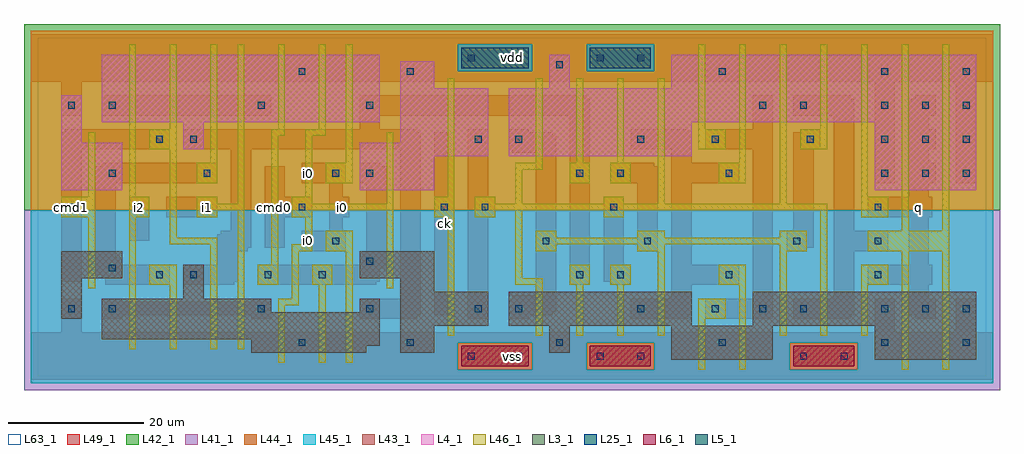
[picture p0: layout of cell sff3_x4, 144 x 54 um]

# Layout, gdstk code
import gdstk
lib = gdstk.Library(unit=1e-6, precision=1e-09)
def R(c, l, rs):  # rectangles x0, y0, x1, y1
    for r in rs: c.add(gdstk.rectangle(r[:2], r[2:], *l))
def A(c, l, x, y, w, h, nx, ny, dx, dy):  # array of equal rectangles
    R(c, l, [(x+i*dx, y+j*dy, x+i*dx+w, y+j*dy+h) for i in range(nx) for j in range(ny)])
L3_1 = (3, 1)
L4_1 = (4, 1)
L5_1 = (5, 1)
L6_1 = (6, 1)
L25_1 = (25, 1)
L41_1 = (41, 1)
L42_1 = (42, 1)
L43_1 = (43, 1)
L44_1 = (44, 1)
L45_1 = (45, 1)
L46_1 = (46, 1)
L49_1 = (49, 1)
L63_1 = (63, 1)

sff3_x4 = lib.new_cell('sff3_x4')
R(sff3_x4, L3_1, [(93.5,2.5,108.5,7.5), (123.5,2.5,138.5,7.5), (31.5,3.5,48.5,4.5), (53.5,3.5,58.5,7.5), (75.5,3.5,78.5,7.5), (31.5,4.5,50.5,5.5), (9.5,5.5,50.5,9.5), (53.5,7.5,66.5,12.5), (69.5,7.5,96.5,12.5), (105.5,7.5,138.5,12.5), (3.5,8.5,6.5,14.5), (9.5,9.5,34.5,11.5), (47.5,9.5,50.5,11.5), (21.5,11.5,24.5,16.5), (53.5,12.5,58.5,14.5), (3.5,14.5,12.5,18.5), (47.5,14.5,58.5,18.5)])
R(sff3_x4, L4_1, [(3.5,27.5,12.5,34.5), (47.5,27.5,58.5,32.5), (123.5,27.5,138.5,37.5), (47.5,32.5,66.5,34.5), (69.5,32.5,96.5,37.5), (21.5,33.5,24.5,37.5), (3.5,34.5,6.5,41.5), (53.5,34.5,66.5,42.5), (9.5,37.5,50.5,47.5), (69.5,37.5,138.5,42.5), (53.5,42.5,58.5,46.5), (75.5,42.5,78.5,47.5), (93.5,42.5,138.5,47.5)])
R(sff3_x4, L5_1, [(62.5,45.5,72.5,48.5), (81.5,45.5,90.5,48.5)])
R(sff3_x4, L6_1, [(62.5,1.5,72.5,4.5), (81.5,1.5,90.5,4.5), (111.5,1.5,120.5,4.5)])
A(sff3_x4, L25_1, 38.5, 4.5, 1, 1, 1, 3, 0, 20)
A(sff3_x4, L25_1, 76.5, 4.5, 1, 1, 3, 1, 24, 0)
A(sff3_x4, L25_1, 32.5, 9.5, 1, 1, 3, 1, 16, 0)
A(sff3_x4, L25_1, 124.5, 9.5, 1, 1, 3, 2, 6, 20)
A(sff3_x4, L25_1, 123.5, 14.5, 1, 1, 1, 3, 0, 5)
A(sff3_x4, L25_1, 4.5, 24.5, 1, 1, 3, 1, 10, 0)
A(sff3_x4, L25_1, 124.5, 34.5, 1, 1, 3, 2, 6, 5)
R(sff3_x4, L25_1, [(63.5,2.5,64.5,3.5), (70.5,2.5,71.5,3.5), (82.5,2.5,83.5,3.5), (88.5,2.5,89.5,3.5), (112.5,2.5,113.5,3.5), (118.5,2.5,119.5,3.5), (54.5,4.5,55.5,5.5), (136.5,4.5,137.5,5.5), (4.5,9.5,5.5,10.5), (10.5,9.5,11.5,10.5), (70.5,9.5,71.5,10.5), (88.5,9.5,89.5,10.5), (99.5,9.5,100.5,10.5), (106.5,9.5,107.5,10.5), (112.5,9.5,113.5,10.5), (17.5,14.5,18.5,15.5), (22.5,14.5,23.5,15.5), (33.5,14.5,34.5,15.5), (41.5,14.5,42.5,15.5), (79.5,14.5,80.5,15.5), (85.5,14.5,86.5,15.5), (101.5,14.5,102.5,15.5), (10.5,15.5,11.5,16.5), (48.5,16.5,49.5,17.5), (43.5,19.5,44.5,20.5), (74.5,19.5,75.5,20.5), (89.5,19.5,90.5,20.5), (111.5,19.5,112.5,20.5), (59.5,24.5,60.5,25.5), (65.5,24.5,66.5,25.5), (84.5,24.5,85.5,25.5), (10.5,29.5,11.5,30.5), (24.5,29.5,25.5,30.5), (43.5,29.5,44.5,30.5), (48.5,29.5,49.5,30.5), (79.5,29.5,80.5,30.5), (85.5,29.5,86.5,30.5), (101.5,29.5,102.5,30.5), (17.5,34.5,18.5,35.5), (22.5,34.5,23.5,35.5), (64.5,34.5,65.5,35.5), (70.5,34.5,71.5,35.5), (88.5,34.5,89.5,35.5), (99.5,34.5,100.5,35.5), (113.5,34.5,114.5,35.5), (4.5,39.5,5.5,40.5), (10.5,39.5,11.5,40.5), (32.5,39.5,33.5,40.5), (48.5,39.5,49.5,40.5), (106.5,39.5,107.5,40.5), (112.5,39.5,113.5,40.5), (54.5,44.5,55.5,45.5), (100.5,44.5,101.5,45.5), (124.5,44.5,125.5,45.5), (136.5,44.5,137.5,45.5), (76.5,45.5,77.5,46.5), (63.5,46.5,64.5,47.5), (70.5,46.5,71.5,47.5), (82.5,46.5,83.5,47.5), (88.5,46.5,89.5,47.5)])
R(sff3_x4, L41_1, [(-2,-2,142,24.5)])
R(sff3_x4, L42_1, [(-2,24.5,142,52)])
R(sff3_x4, L43_1, [(62.5,1.5,72.5,4.5), (81.5,1.5,90.5,4.5), (111.5,1.5,120.5,4.5), (93.5,2.5,108.5,7.5), (123.5,2.5,138.5,7.5), (31.5,3.5,48.5,4.5), (53.5,3.5,58.5,7.5), (75.5,3.5,78.5,7.5), (31.5,4.5,50.5,5.5), (9.5,5.5,50.5,9.5), (53.5,7.5,66.5,12.5), (69.5,7.5,96.5,12.5), (105.5,7.5,138.5,12.5), (3.5,8.5,6.5,14.5), (9.5,9.5,34.5,11.5), (47.5,9.5,50.5,11.5), (21.5,11.5,24.5,16.5), (53.5,12.5,58.5,14.5), (3.5,14.5,12.5,18.5), (47.5,14.5,58.5,18.5), (3.5,27.5,12.5,34.5), (47.5,27.5,58.5,32.5), (123.5,27.5,138.5,37.5), (47.5,32.5,66.5,34.5), (69.5,32.5,96.5,37.5), (21.5,33.5,24.5,37.5), (3.5,34.5,6.5,41.5), (53.5,34.5,66.5,42.5), (9.5,37.5,50.5,47.5), (69.5,37.5,138.5,42.5), (53.5,42.5,58.5,46.5), (75.5,42.5,78.5,47.5), (93.5,42.5,138.5,47.5), (62.5,45.5,72.5,48.5), (81.5,45.5,90.5,48.5)])
R(sff3_x4, L44_1, [(62,1,73,5), (81,1,91,5), (111,1,121,5), (-1,24.5,141,45), (-1,45,62,49), (73,45,81,49), (91,45,141,49), (-1,49,141,51)])
R(sff3_x4, L45_1, [(-1,-1,141,1), (-1,1,62,5), (73,1,81,5), (91,1,111,5), (121,1,141,5), (-1,5,141,24.5), (62,45,73,49), (81,45,91,49)])
A(sff3_x4, L46_1, 73.5, 6, 1, 7.5, 3, 1, 6, 0)
A(sff3_x4, L46_1, 73.5, 31.5, 1, 12.5, 3, 1, 6, 0)
R(sff3_x4, L46_1, [(97.5,1,98.5,8.5), (103.5,1,104.5,13.5), (127.5,1,128.5,18.5), (133.5,1,134.5,18.5), (35.5,2,36.5,10.5), (41.5,2,42.5,13.5), (45.5,2,46.5,18.5), (13.5,4,14.5,23.5), (19.5,4,20.5,13.5), (25.5,4,26.5,19.5), (29.5,4,30.5,24.5), (60.5,6,61.5,23.5), (91.5,6,92.5,18.5), (109.5,6,110.5,18.5), (115.5,6,116.5,24.5), (121.5,6,122.5,13.5), (97.5,8.5,101.5,11.5), (35.5,10.5,38.5,11.5), (37.5,11.5,38.5,18.5), (7.5,13,8.5,23.5), (51.5,13,52.5,24.5), (16.5,13.5,20.5,16.5), (32.5,13.5,35.5,16.5), (40.5,13.5,43.5,16.5), (70.5,13.5,74.5,14.5), (78.5,13.5,81.5,16.5), (84.5,13.5,87.5,16.5), (100.5,13.5,104.5,16.5), (121.5,13.5,125.5,16.5), (70.5,14.5,71.5,24.5), (34.5,16.5,35.5,35.5), (37.5,18.5,40.5,19.5), (42.5,18.5,46.5,21.5), (73.5,18.5,76.5,19.5), (88.5,18.5,92.5,19.5), (109.5,18.5,113.5,19.5), (122.5,18.5,134.5,21.5), (19.5,19.5,26.5,20.5), (39.5,19.5,40.5,23.5), (73.5,19.5,113.5,20.5), (19.5,20.5,20.5,33.5), (73.5,20.5,76.5,21.5), (88.5,20.5,92.5,21.5), (109.5,20.5,113.5,21.5), (127.5,21.5,128.5,49), (133.5,21.5,134.5,49), (3.5,23.5,8.5,26.5), (13.5,23.5,16.5,26.5), (23.5,23.5,26.5,24.5), (37.5,23.5,40.5,24.5), (58.5,23.5,61.5,26.5), (64.5,23.5,67.5,24.5), (83.5,23.5,86.5,24.5), (121.5,23.5,125.5,26.5), (23.5,24.5,30.5,25.5), (37.5,24.5,52.5,25.5), (64.5,24.5,116.5,25.5), (23.5,25.5,26.5,26.5), (29.5,25.5,30.5,49), (37.5,25.5,40.5,26.5), (51.5,25.5,52.5,36), (64.5,25.5,67.5,26.5), (70.5,25.5,71.5,30.5), (83.5,25.5,86.5,26.5), (91.5,25.5,92.5,44), (109.5,25.5,110.5,49), (7.5,26.5,8.5,36), (13.5,26.5,14.5,49), (39.5,26.5,40.5,35.5), (60.5,26.5,61.5,44), (121.5,26.5,122.5,49), (23.5,28.5,26.5,31.5), (42.5,28.5,46.5,31.5), (78.5,28.5,81.5,31.5), (84.5,28.5,87.5,31.5), (100.5,28.5,104.5,31.5), (70.5,30.5,74.5,31.5), (25.5,31.5,26.5,49), (45.5,31.5,46.5,49), (103.5,31.5,104.5,49), (16.5,33.5,20.5,36.5), (97.5,33.5,101.5,36.5), (112.5,33.5,116.5,36.5), (34.5,35.5,36.5,36.5), (39.5,35.5,42.5,36.5), (19.5,36.5,20.5,49), (35.5,36.5,36.5,49), (41.5,36.5,42.5,49), (97.5,36.5,98.5,49), (115.5,36.5,116.5,49)])
A(sff3_x4, L49_1, 128.5, 26.5, 3, 2, 1, 3, 0, 5)
R(sff3_x4, L49_1, [(-1,-0.5,141,6.5), (3.5,6.5,6.5,11.5), (123.5,6.5,126.5,11.5), (135.5,6.5,138.5,11.5), (9.5,8.5,12.5,9), (31.5,8.5,34.5,9), (47.5,8.5,56,9), (63.5,8.5,66.5,23.5), (69.5,8.5,72.5,9), (87.5,8.5,96,9), (98.5,8.5,108.5,11.5), (111.5,8.5,120,9), (129.5,8.5,132.5,9), (9.5,9,34.5,11), (47.5,9,56.5,11.5), (58.5,9,61.5,36), (69.5,9,76,9.5), (87.5,9,96.5,11.5), (111.5,9,120.5,11.5), (128.5,9,132.5,11.5), (69.5,9.5,76.5,11.5), (9.5,11,12.5,11.5), (31.5,11,34.5,11.5), (53.5,11.5,56.5,33.5), (70,11.5,76.5,12), (93.5,11.5,96.5,13.5), (105.5,11.5,108.5,33.5), (117.5,11.5,120.5,18.5), (128.5,11.5,131.5,13.5), (73.5,12,76.5,33), (10,13.5,19.5,14.5), (21.5,13.5,29,14), (32.5,13.5,50,14), (78.5,13.5,81.5,38.5), (84.5,13.5,87.5,14), (93.5,13.5,103.5,16.5), (122.5,13.5,132,16.5), (3.5,14,6.5,33.5), (21.5,14,29.5,16.5), (32.5,14,50.5,16), (83.5,14,87.5,16.5), (9.5,14.5,19.5,15), (8.5,15,19.5,16.5), (32.5,16,51.5,16.5), (8.5,16.5,12.5,17.5), (26.5,16.5,29.5,18.5), (47.5,16.5,51.5,18.5), (83.5,16.5,86.5,26.5), (93.5,16.5,96.5,28.5), (128.5,16.5,131.5,23.5), (8.5,17.5,11.5,28.5), (26.5,18.5,31,19), (39,18.5,45.5,21.5), (48.5,18.5,51.5,28.5), (88.5,18.5,91.5,28.5), (110.5,18.5,113.5,19), (117.5,18.5,125.5,21.5), (26.5,19,31.5,21), (33.5,19,36.5,23.5), (110.5,19,114.5,21.5), (13.5,20,16.5,26.5), (27,21,31.5,21.5), (28.5,21.5,31.5,33.5), (43,21.5,45,23.5), (111.5,21.5,114.5,33.5), (117.5,21.5,120.5,38.5), (19,23.5,26.5,26.5), (33.5,23.5,40.5,26.5), (43,23.5,46,26.5), (63.5,23.5,67.5,26.5), (122.5,23.5,132,26.5), (33.5,26.5,36.5,31), (43,26.5,45,28.5), (63.5,26.5,66.5,36.5), (8.5,28.5,26.5,31), (39,28.5,45.5,31.5), (47.5,28.5,51.5,31), (84.5,28.5,91.5,31), (93.5,28.5,103.5,31.5), (123.5,28.5,126.5,43.5), (128.5,28.5,132.5,31.5), (135.5,28.5,138.5,43.5), (9.5,31,26.5,31.5), (47.5,31,50.5,31.5), (84.5,31,91,31.5), (93.5,31.5,96.5,33.5), (70,33,76.5,33.5), (3.5,33.5,19.5,36), (21.5,33.5,56.5,36), (69.5,33.5,76.5,35.5), (87.5,33.5,96.5,36), (98.5,33.5,108.5,36.5), (111.5,33.5,115.5,36), (128.5,33.5,132.5,36.5), (69.5,35.5,76,36), (4,36,19.5,36.5), (21.5,36,56,36.5), (69.5,36,72.5,36.5), (87.5,36,96,36.5), (112.5,36,115.5,36.5), (47.5,36.5,50.5,38.5), (105.5,36.5,108.5,41.5), (3.5,38.5,6.5,43.5), (9.5,38.5,34.5,41.5), (47.5,38.5,81.5,41), (111.5,38.5,120.5,41), (128.5,38.5,132.5,41), (47.5,41,81,41.5), (111.5,41,120,41.5), (129.5,41,132.5,41.5), (-1,43.5,141,50.5)])
R(sff3_x4, L63_1, [(0,0,140,50)])
sff3_x4.add(gdstk.Label('i2', (15,25), layer=49, texttype=1))
sff3_x4.add(gdstk.Label('cmd1', (5,25), layer=49, texttype=1))
sff3_x4.add(gdstk.Label('i2', (15,25), layer=49, texttype=1))
sff3_x4.add(gdstk.Label('cmd1', (5,25), layer=49, texttype=1))
sff3_x4.add(gdstk.Label('i0', (40,20), layer=49, texttype=1))
sff3_x4.add(gdstk.Label('i0', (40,20), layer=49, texttype=1))
sff3_x4.add(gdstk.Label('i1', (25,25), layer=49, texttype=1))
sff3_x4.add(gdstk.Label('cmd0', (35,25), layer=49, texttype=1))
sff3_x4.add(gdstk.Label('i0', (45,25), layer=49, texttype=1))
sff3_x4.add(gdstk.Label('i0', (45,25), layer=49, texttype=1))
sff3_x4.add(gdstk.Label('cmd0', (35,25), layer=49, texttype=1))
sff3_x4.add(gdstk.Label('i1', (25,25), layer=49, texttype=1))
sff3_x4.add(gdstk.Label('i0', (40,30), layer=49, texttype=1))
sff3_x4.add(gdstk.Label('i0', (40,30), layer=49, texttype=1))
sff3_x4.add(gdstk.Label('ck', (60,22.5), layer=49, texttype=1))
sff3_x4.add(gdstk.Label('ck', (60,22.5), layer=49, texttype=1))
sff3_x4.add(gdstk.Label('vss', (70,3), layer=49, texttype=1))
sff3_x4.add(gdstk.Label('vss', (70,3), layer=49, texttype=1))
sff3_x4.add(gdstk.Label('vdd', (70,47), layer=49, texttype=1))
sff3_x4.add(gdstk.Label('vdd', (70,47), layer=49, texttype=1))
sff3_x4.add(gdstk.Label('q', (130,25), layer=49, texttype=1))
sff3_x4.add(gdstk.Label('q', (130,25), layer=49, texttype=1))

lib.write_gds('sff3_x4.gds')
